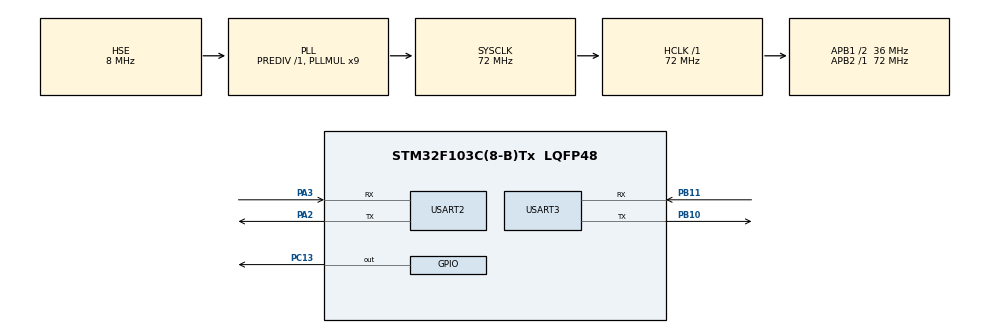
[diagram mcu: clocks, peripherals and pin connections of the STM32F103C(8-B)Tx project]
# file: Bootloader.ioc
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Mcu.Family=STM32F1
Mcu.Name=STM32F103C(8-B)Tx
Mcu.Package=LQFP48
NVIC.PriorityGroup=NVIC_PRIORITYGROUP_4
PA2.Mode=Asynchronous
PA2.Signal=USART2_TX
PA3.Mode=Asynchronous
PA3.Signal=USART2_RX
PB10.Mode=Asynchronous
PB10.Signal=USART3_TX
PB11.Mode=Asynchronous
PB11.Signal=USART3_RX
PC13-TAMPER-RTC.Signal=GPIO_Output
PD0-OSC_IN.Mode=HSE-External-Oscillator
PD0-OSC_IN.Signal=RCC_OSC_IN
PD1-OSC_OUT.Mode=HSE-External-Oscillator
PD1-OSC_OUT.Signal=RCC_OSC_OUT
ProjectManager.HeapSize=0x200
ProjectManager.StackSize=0x400
ProjectManager.TargetToolchain=STM32CubeIDE
RCC.AHBFreq_Value=72000000
RCC.APB1CLKDivider=RCC_HCLK_DIV2
RCC.APB1Freq_Value=36000000
RCC.APB1TimFreq_Value=72000000
RCC.APB2Freq_Value=72000000
RCC.APB2TimFreq_Value=72000000
RCC.HCLKFreq_Value=72000000
RCC.PLLMUL=RCC_PLL_MUL9
RCC.PLLSourceVirtual=RCC_PLLSOURCE_HSE
RCC.SYSCLKFreq_VALUE=72000000
RCC.SYSCLKSource=RCC_SYSCLKSOURCE_PLLCLK
RCC.USBFreq_Value=48000000
RCC.USBPrescaler=RCC_USBCLKSOURCE_PLL_DIV1_5
USART2.VirtualMode=VM_ASYNC
USART3.VirtualMode=VM_ASYNC
VP_CRC_VS_CRC.Mode=CRC_Activate
board=custom

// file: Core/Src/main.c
/* USER CODE BEGIN Header */
/**
  ******************************************************************************
  * @file           : main.c
  * @brief          : Main program body
  ******************************************************************************
  * @attention
  *
  * Copyright (c) 2023 STMicroelectronics.
  * All rights reserved.
  *
  * This software is licensed under terms that can be found in the LICENSE file
  * in the root directory of this software component.
  * If no LICENSE file comes with this software, it is provided AS-IS.
  *
  ******************************************************************************
  */
/* USER CODE END Header */
#include "main.h"
#include "crc.h"
#include "usart.h"
#include "gpio.h"

/* USER CODE BEGIN Includes */
#include <stdio.h>
#include "bootloader.h"
/* USER CODE END Includes */

void SystemClock_Config(void);

/* USER CODE BEGIN 0 */
uint8_t check[16]="Bootloader Start";
uint8_t Erase[16]="Bootloader Ereas";
uint8_t start[16]={0};
uint8_t flag=0;
uint8_t ckeakStart()
{
	uint8_t count=0;
	HAL_UART_Receive(BL_SEND_CMD_UART, start, sizeof(check), HAL_MAX_DELAY);

	while(check[count]!='\0')
	{
		if(start[count] != check[count])
			break;
		count++;
	}
	if(count == 16)
		return 1;

	else{
		count=0;
		while(Erase[count]!='\0')
		{
			if(start[count] != Erase[count])
				break;
			count++;
		}
		if(count == 16)
			return 2;
	}
	return 0;
}
/* USER CODE END 0 */

int main(void)
{

  /* MCU Configuration--------------------------------------------------------*/

  /* Reset of all peripherals, Initializes the Flash interface and the Systick. */
  HAL_Init();

  /* Configure the system clock */
  SystemClock_Config();

  /* Initialize all configured peripherals */
  MX_GPIO_Init();
  MX_USART2_UART_Init();
  MX_USART3_UART_Init();
  MX_CRC_Init();
  /* USER CODE BEGIN 2 */
#if BL_DEBUG_ENABLE == DEBUG_INFO_ENABLE
  BL_PrintMessage("Bootloader Started");
#endif
  /* USER CODE END 2 */

  /* Infinite loop */
  while (1)
  {

    /* USER CODE BEGIN 3 */
	  uint8_t d=ckeakStart();
	  if( d== 1)
	  {
		  BL_FeatchHostCommand();
	  }
	  else if(d == 2)
	  {
		  Perform_Flash_Erase(0xff,60);
	  }
	  else
	  {
		  Bootloader_Jump_To_Application();
	  }

  }
  /* USER CODE END 3 */
}

void SystemClock_Config(void)
{
  RCC_OscInitTypeDef RCC_OscInitStruct = {0};
  RCC_ClkInitTypeDef RCC_ClkInitStruct = {0};

  /** Initializes the RCC Oscillators according to the specified parameters
  * in the RCC_OscInitTypeDef structure.
  */
  RCC_OscInitStruct.OscillatorType = RCC_OSCILLATORTYPE_HSE;
  RCC_OscInitStruct.HSEState = RCC_HSE_ON;
  RCC_OscInitStruct.HSEPredivValue = RCC_HSE_PREDIV_DIV1;
  RCC_OscInitStruct.HSIState = RCC_HSI_ON;
  RCC_OscInitStruct.PLL.PLLState = RCC_PLL_ON;
  RCC_OscInitStruct.PLL.PLLSource = RCC_PLLSOURCE_HSE;
  RCC_OscInitStruct.PLL.PLLMUL = RCC_PLL_MUL9;
  if (HAL_RCC_OscConfig(&RCC_OscInitStruct) != HAL_OK)
  {
    Error_Handler();
  }

  /** Initializes the CPU, AHB and APB buses clocks
  */
  RCC_ClkInitStruct.ClockType = RCC_CLOCKTYPE_HCLK|RCC_CLOCKTYPE_SYSCLK
                              |RCC_CLOCKTYPE_PCLK1|RCC_CLOCKTYPE_PCLK2;
  RCC_ClkInitStruct.SYSCLKSource = RCC_SYSCLKSOURCE_PLLCLK;
  RCC_ClkInitStruct.AHBCLKDivider = RCC_SYSCLK_DIV1;
  RCC_ClkInitStruct.APB1CLKDivider = RCC_HCLK_DIV2;
  RCC_ClkInitStruct.APB2CLKDivider = RCC_HCLK_DIV1;

  if (HAL_RCC_ClockConfig(&RCC_ClkInitStruct, FLASH_LATENCY_2) != HAL_OK)
  {
    Error_Handler();
  }
}

void Error_Handler(void)
{
  __disable_irq();
  while (1)
  {
  }
}
